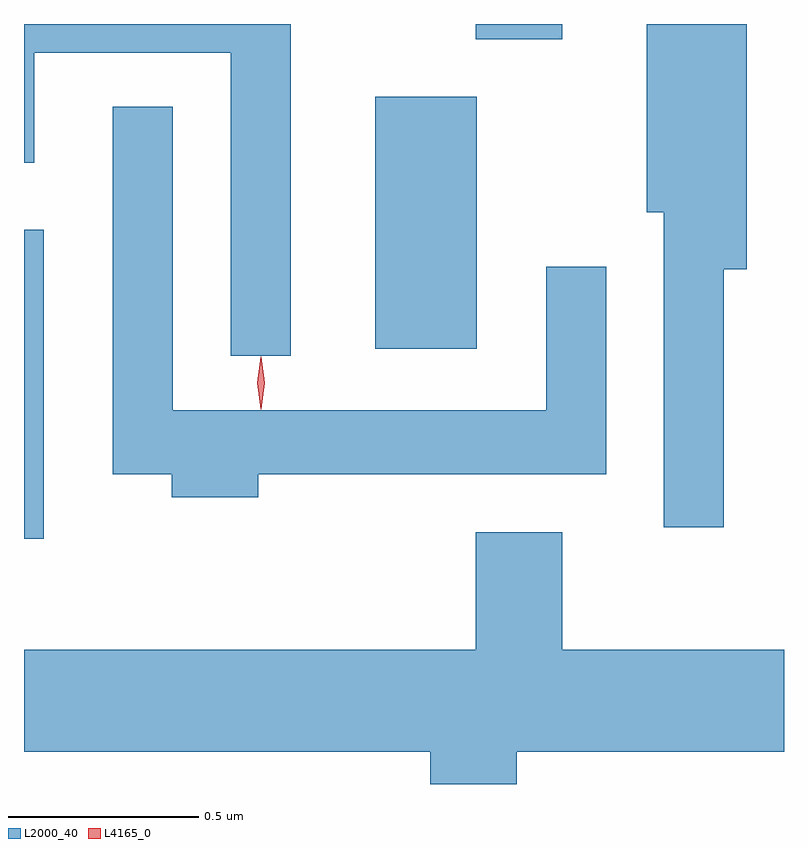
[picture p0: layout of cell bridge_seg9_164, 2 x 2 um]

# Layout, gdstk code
import gdstk
lib = gdstk.Library(unit=1e-6, precision=1e-09)
def R(c, l, rs):  # rectangles x0, y0, x1, y1
    for r in rs: c.add(gdstk.rectangle(r[:2], r[2:], *l))
def P(c, l, *ps):  # polygons
    for p in ps: c.add(gdstk.Polygon(p, *l))
L2000_40 = (2000, 40)
L4165_0 = (4165, 0)

bridge_seg9_164 = lib.new_cell('bridge_seg9_164')
R(bridge_seg9_164, L2000_40, [(1391.672,2072.296,1391.724,2073.109), (1392.596,2072.796,1392.864,2073.459), (1392.861,2073.611,1393.089,2073.651)])
P(bridge_seg9_164, L2000_40, [(1392.374,2073.651),(1391.672,2073.651),(1391.672,2073.286),(1391.699,2073.286),(1391.699,2073.576),(1392.216,2073.576),(1392.216,2072.778),(1392.374,2072.778)],
  [(1393.514,2073.006),(1393.574,2073.006),(1393.574,2073.651),(1393.311,2073.651),(1393.311,2073.156),(1393.356,2073.156),(1393.356,2072.327),(1393.514,2072.327)],
  [(1392.289,2072.466),(1393.204,2072.466),(1393.204,2073.012),(1393.046,2073.012),(1393.046,2072.634),(1392.064,2072.634),(1392.064,2073.433),(1391.906,2073.433),(1391.906,2072.466),(1392.061,2072.466),(1392.061,2072.406),(1392.289,2072.406)],
  [(1392.969,2071.736),(1393.672,2071.736),(1393.672,2072.004),(1393.089,2072.004),(1393.089,2072.314),(1392.861,2072.314),(1392.861,2072.004),(1391.672,2072.004),(1391.672,2071.736),(1392.741,2071.736),(1392.741,2071.651),(1392.969,2071.651)])
P(bridge_seg9_164, L4165_0, [(1392.295,2072.637),(1392.286,2072.707),(1392.295,2072.776),(1392.296,2072.776),(1392.296,2072.776),(1392.306,2072.707),(1392.296,2072.637),(1392.296,2072.637)],
  [(1392.295,2072.64),(1392.286,2072.706),(1392.295,2072.772),(1392.296,2072.773),(1392.296,2072.772),(1392.306,2072.706),(1392.296,2072.64),(1392.296,2072.64)])

lib.write_gds('bridge_seg9_164.gds')
